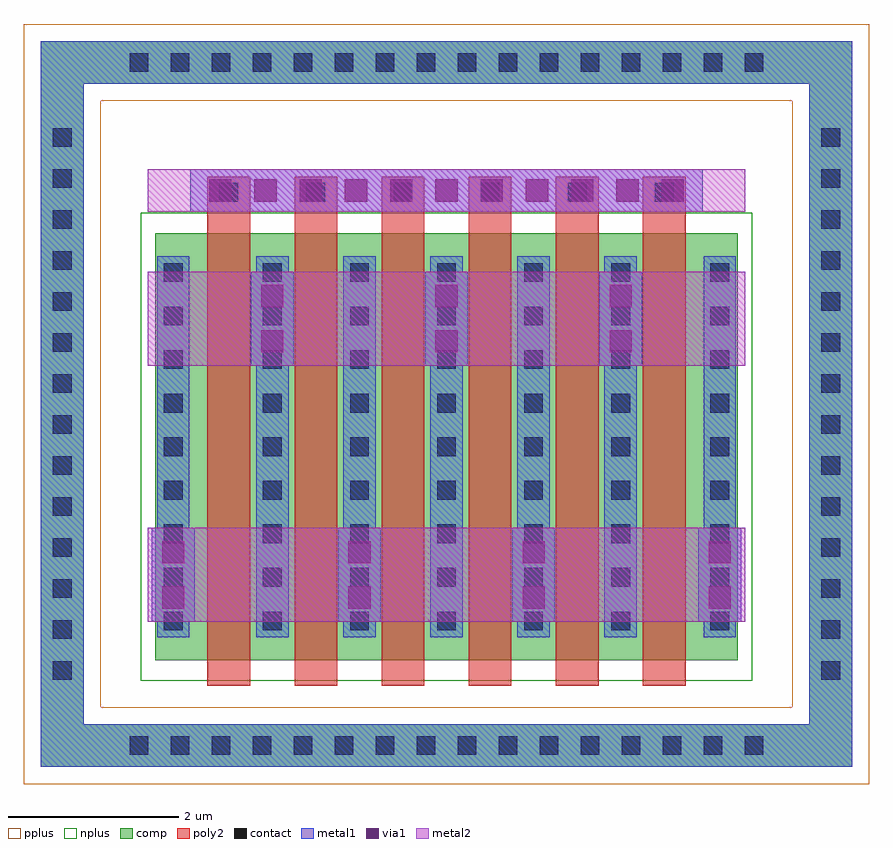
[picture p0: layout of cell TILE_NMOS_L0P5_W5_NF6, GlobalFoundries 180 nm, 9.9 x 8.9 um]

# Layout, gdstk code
import gdstk
lib = gdstk.Library(unit=1e-6, precision=1e-09)
def R(c, l, rs):  # rectangles x0, y0, x1, y1
    for r in rs: c.add(gdstk.rectangle(r[:2], r[2:], *l))
def A(c, l, x, y, w, h, nx, ny, dx, dy):  # array of equal rectangles
    R(c, l, [(x+i*dx, y+j*dy, x+i*dx+w, y+j*dy+h) for i in range(nx) for j in range(ny)])
comp = (22, 0)
poly2 = (30, 0)
pplus = (31, 0)
nplus = (32, 0)
contact = (33, 0)
metal1 = (34, 0)
via1 = (35, 0)
metal2 = (36, 0)

via_dev = lib.new_cell('via_dev')

via_dev_3 = lib.new_cell('via_dev$3')
R(via_dev_3, comp, [(0,0,0.5,7)])
A(via_dev_3, contact, 0.14, 0.27, 0.22, 0.22, 1, 14, 0, 0.48)
R(via_dev_3, metal1, [(0,0,0.5,7)])

via_dev_2 = lib.new_cell('via_dev$2')
R(via_dev_2, comp, [(0,0,8,0.5)])
A(via_dev_2, contact, 0.29, 0.14, 0.22, 0.22, 16, 1, 0.48, 0)
R(via_dev_2, metal1, [(0,0,8,0.5)])

nfet = lib.new_cell('nfet')
R(nfet, comp, [(-0.42,0,0,5), (0,0,5.98,5), (5.98,0,6.4,5)])
A(nfet, poly2, 0.19, -0.3, 0.5, 5.6, 6, 1, 1.02, 0)
A(nfet, poly2, 0.19, 5.3, 0.5, 0.36, 6, 1, 1.02, 0)
R(nfet, nplus, [(-0.59,-0.24,6.57,5.24)])
A(nfet, contact, -0.32, 0.35, 0.22, 0.22, 1, 9, 0, 0.51)
A(nfet, contact, 0.84, 0.35, 0.22, 0.22, 5, 9, 1.02, 0.51)
A(nfet, contact, 6.08, 0.35, 0.22, 0.22, 1, 9, 0, 0.51)
A(nfet, contact, 0.33, 5.37, 0.22, 0.22, 6, 1, 1.02, 0)
A(nfet, metal1, 0.76, 0.27, 0.38, 4.46, 5, 1, 1.02, 0)
A(nfet, metal1, 0.25, 5.289, 0.38, 0.382, 6, 1, 1.02, 0)
R(nfet, metal1, [(-0.4,0.27,-0.02,4.73), (6,0.27,6.38,4.73)])

via_dev_5 = lib.new_cell('via_dev$5')
R(via_dev_5, metal1, [(0,0,0.5,1.1)])
R(via_dev_5, via1, [(0.12,0.155,0.38,0.415), (0.12,0.685,0.38,0.945)])
R(via_dev_5, metal2, [(0,0,0.5,1.1)])

via_dev_4 = lib.new_cell('via_dev$4')
R(via_dev_4, metal1, [(0,0,6,0.5)])
A(via_dev_4, via1, 0.22, 0.12, 0.26, 0.26, 11, 1, 0.53, 0)
R(via_dev_4, metal2, [(0,0,6,0.5)])

tile_nmos_l0p5_w5_nf6 = lib.new_cell('TILE_NMOS_L0P5_W5_NF6')
tile_nmos_l0p5_w5_nf6.add(gdstk.FlexPath([(-3.5,2),(3.5,2)], 1.1, ends="flush", simple_path=True, layer=36, datatype=0))  # metal2
tile_nmos_l0p5_w5_nf6.add(gdstk.FlexPath([(-3.5,5),(3.5,5)], 1.1, ends="flush", simple_path=True, layer=36, datatype=0))  # metal2
tile_nmos_l0p5_w5_nf6.add(gdstk.FlexPath([(-3.5,6.5),(3.5,6.5)], 0.5, ends="flush", simple_path=True, layer=36, datatype=0))  # metal2
tile_nmos_l0p5_w5_nf6.add(gdstk.FlexPath([(-4.5,8.25),(-4.5,-0.25)], 0.5, ends="flush", simple_path=True, layer=34, datatype=0))  # metal1
tile_nmos_l0p5_w5_nf6.add(gdstk.FlexPath([(4.5,8.25),(4.5,-0.25)], 0.5, ends="flush", simple_path=True, layer=34, datatype=0))  # metal1
tile_nmos_l0p5_w5_nf6.add(gdstk.FlexPath([(-4.75,8),(4.75,8)], 0.5, ends="flush", simple_path=True, layer=34, datatype=0))  # metal1
tile_nmos_l0p5_w5_nf6.add(gdstk.FlexPath([(-4.75,0),(4.75,0)], 0.5, ends="flush", simple_path=True, layer=34, datatype=0))  # metal1
tile_nmos_l0p5_w5_nf6.add(gdstk.FlexPath([(-3,6.5),(3,6.5)], 0.5, ends="flush", simple_path=True, layer=34, datatype=0))  # metal1
tile_nmos_l0p5_w5_nf6.add(gdstk.FlexPath([(4.5,8.25),(4.5,-0.25)], 0.5, ends="flush", simple_path=True, layer=22, datatype=0))  # comp
tile_nmos_l0p5_w5_nf6.add(gdstk.FlexPath([(-4.5,8.25),(-4.5,-0.25)], 0.5, ends="flush", simple_path=True, layer=22, datatype=0))  # comp
tile_nmos_l0p5_w5_nf6.add(gdstk.FlexPath([(-4.75,8),(4.75,8)], 0.5, ends="flush", simple_path=True, layer=22, datatype=0))  # comp
tile_nmos_l0p5_w5_nf6.add(gdstk.FlexPath([(-4.75,0),(4.75,0)], 0.5, ends="flush", simple_path=True, layer=22, datatype=0))  # comp
tile_nmos_l0p5_w5_nf6.add(gdstk.FlexPath([(-4.95,8),(4.95,8)], 0.9, ends="flush", simple_path=True, layer=31, datatype=0))  # pplus
tile_nmos_l0p5_w5_nf6.add(gdstk.FlexPath([(-4.95,0),(4.95,0)], 0.9, ends="flush", simple_path=True, layer=31, datatype=0))  # pplus
tile_nmos_l0p5_w5_nf6.add(gdstk.FlexPath([(-4.95,8),(4.95,8)], 0.9, ends="flush", simple_path=True, layer=31, datatype=0))  # pplus
tile_nmos_l0p5_w5_nf6.add(gdstk.FlexPath([(4.5,0),(4.5,8)], 0.9, ends="flush", simple_path=True, layer=31, datatype=0))  # pplus
tile_nmos_l0p5_w5_nf6.add(gdstk.FlexPath([(-4.5,0),(-4.5,8)], 0.9, ends="flush", simple_path=True, layer=31, datatype=0))  # pplus
tile_nmos_l0p5_w5_nf6.add(gdstk.Reference(via_dev, (-0.62,-0.915)))
tile_nmos_l0p5_w5_nf6.add(gdstk.Reference(via_dev_3, (-4.75,0.5)))
tile_nmos_l0p5_w5_nf6.add(gdstk.Reference(via_dev_3, (4.25,0.5)))
tile_nmos_l0p5_w5_nf6.add(gdstk.Reference(via_dev_2, (-4,-0.25)))
tile_nmos_l0p5_w5_nf6.add(gdstk.Reference(nfet, (-2.99,1)))
tile_nmos_l0p5_w5_nf6.add(gdstk.Reference(via_dev_5, (-3.45,1.45)))
tile_nmos_l0p5_w5_nf6.add(gdstk.Reference(via_dev_5, (-1.27,1.45)))
tile_nmos_l0p5_w5_nf6.add(gdstk.Reference(via_dev_5, (0.77,1.45)))
tile_nmos_l0p5_w5_nf6.add(gdstk.Reference(via_dev_5, (2.95,1.45)))
tile_nmos_l0p5_w5_nf6.add(gdstk.Reference(via_dev_5, (1.79,4.45)))
tile_nmos_l0p5_w5_nf6.add(gdstk.Reference(via_dev_5, (-0.25,4.45)))
tile_nmos_l0p5_w5_nf6.add(gdstk.Reference(via_dev_5, (-2.29,4.45)))
tile_nmos_l0p5_w5_nf6.add(gdstk.Reference(via_dev_4, (-3,6.25)))
tile_nmos_l0p5_w5_nf6.add(gdstk.Reference(via_dev_2, (-4,7.75)))

lib.write_gds('TILE_NMOS_L0P5_W5_NF6.gds')
